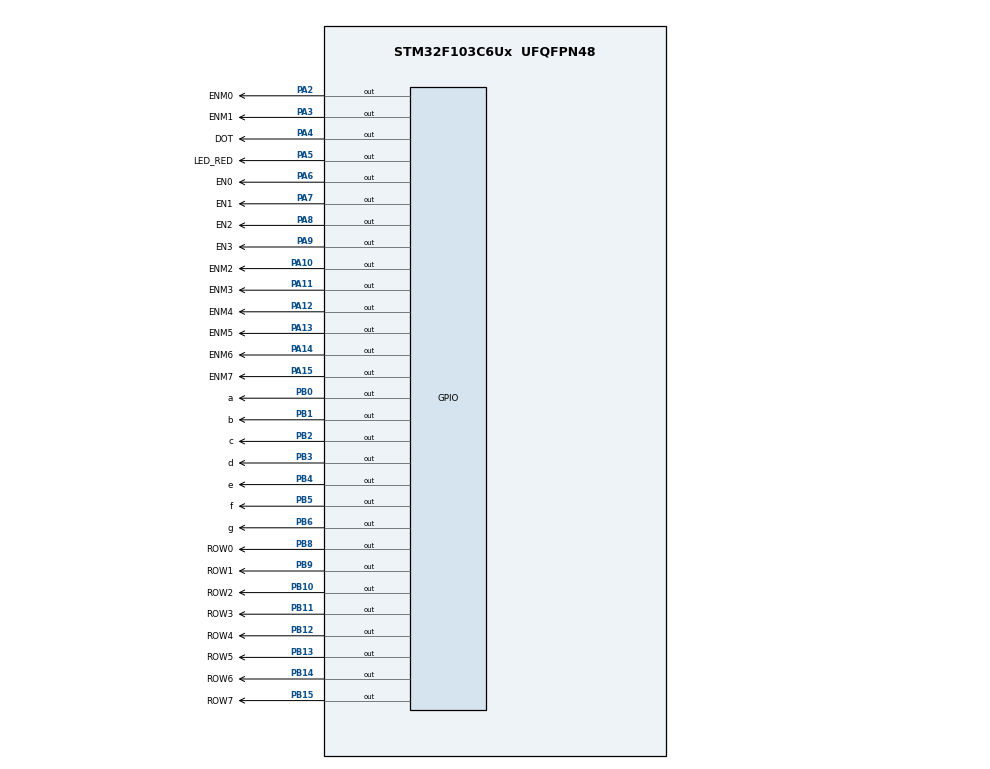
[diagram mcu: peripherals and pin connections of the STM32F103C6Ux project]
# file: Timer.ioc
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Mcu.Family=STM32F1
Mcu.Name=STM32F103C6Ux
Mcu.Package=UFQFPN48
NVIC.PriorityGroup=NVIC_PRIORITYGROUP_4
NVIC.TIM2_IRQn=true\:0\:0\:false\:false\:true\:true\:true
PA10.GPIO_Label=ENM2
PA10.Signal=GPIO_Output
PA11.GPIO_Label=ENM3
PA11.Signal=GPIO_Output
PA12.GPIO_Label=ENM4
PA12.Signal=GPIO_Output
PA13.GPIO_Label=ENM5
PA13.Signal=GPIO_Output
PA14.GPIO_Label=ENM6
PA14.Signal=GPIO_Output
PA15.GPIO_Label=ENM7
PA15.Signal=GPIO_Output
PA2.GPIO_Label=ENM0
PA2.Signal=GPIO_Output
PA3.GPIO_Label=ENM1
PA3.Signal=GPIO_Output
PA4.GPIO_Label=DOT
PA4.Signal=GPIO_Output
PA5.GPIO_Label=LED_RED
PA5.Signal=GPIO_Output
PA6.GPIO_Label=EN0
PA6.Signal=GPIO_Output
PA7.GPIO_Label=EN1
PA7.Signal=GPIO_Output
PA8.GPIO_Label=EN2
PA8.Signal=GPIO_Output
PA9.GPIO_Label=EN3
PA9.Signal=GPIO_Output
PB0.GPIO_Label=a
PB0.Signal=GPIO_Output
PB1.GPIO_Label=b
PB1.Signal=GPIO_Output
PB10.GPIO_Label=ROW2
PB10.Signal=GPIO_Output
PB11.GPIO_Label=ROW3
PB11.Signal=GPIO_Output
PB12.GPIO_Label=ROW4
PB12.Signal=GPIO_Output
PB13.GPIO_Label=ROW5
PB13.Signal=GPIO_Output
PB14.GPIO_Label=ROW6
PB14.Signal=GPIO_Output
PB15.GPIO_Label=ROW7
PB15.Signal=GPIO_Output
PB2.GPIO_Label=c
PB2.Signal=GPIO_Output
PB3.GPIO_Label=d
PB3.Signal=GPIO_Output
PB4.GPIO_Label=e
PB4.Signal=GPIO_Output
PB5.GPIO_Label=f
PB5.Signal=GPIO_Output
PB6.GPIO_Label=g
PB6.Signal=GPIO_Output
PB8.GPIO_Label=ROW0
PB8.Signal=GPIO_Output
PB9.GPIO_Label=ROW1
PB9.Signal=GPIO_Output
ProjectManager.HeapSize=0x200
ProjectManager.StackSize=0x400
ProjectManager.TargetToolchain=STM32CubeIDE
RCC.APB1Freq_Value=8000000
RCC.APB2Freq_Value=8000000
TIM2.Period=9
TIM2.Prescaler=7999
VP_SYS_VS_ND.Mode=No_Debug
VP_TIM2_VS_ClockSourceINT.Mode=Internal
board=custom

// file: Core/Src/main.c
/* USER CODE BEGIN Header */
/**
  ******************************************************************************
  * @file           : main.c
  * @brief          : Main program body
  ******************************************************************************
  * @attention
  *
  * <h2><center>&copy; Copyright (c) 2022 STMicroelectronics.
  * All rights reserved.</center></h2>
  *
  * This software component is licensed by ST under BSD 3-Clause license,
  * the "License"; You may not use this file except in compliance with the
  * License. You may obtain a copy of the License at:
  *                        opensource.org/licenses/BSD-3-Clause
  *
  ******************************************************************************
  */
/* USER CODE END Header */
#include "main.h"

/* USER CODE BEGIN Includes */
#include "software_timer.h"
/* USER CODE END Includes */

TIM_HandleTypeDef htim2;

void SystemClock_Config(void);
static void MX_TIM2_Init(void);
static void MX_GPIO_Init(void);
/* USER CODE BEGIN PFP */
void display7SEG(int);
void update7SEG(int);
void updateClockBuffer(int, int);
void updateCOLMatrix(int);
void updateROWMatrix(int);
/* USER CODE END PFP */

/* USER CODE BEGIN 0 */
uint8_t segNumber[10] = {
		0x40,
		0x79,
		0x24,
		0x30,
		0x19,
		0x12,
		0x02,
		0x78,
		0x00,
		0x10
};
const int MAX_LED = 4;
int index_led = 0;
int led_buffer[4] = {0, 0, 0, 0};
/* USER CODE END 0 */

int main(void)
{

  /* MCU Configuration--------------------------------------------------------*/

  /* Reset of all peripherals, Initializes the Flash interface and the Systick. */
  HAL_Init();

  /* Configure the system clock */
  SystemClock_Config();

  /* Initialize all configured peripherals */
  MX_TIM2_Init();
  MX_GPIO_Init();
  /* USER CODE BEGIN 2 */
  HAL_TIM_Base_Start_IT(&htim2);
  /* USER CODE END 2 */

  /* Infinite loop */
  /* USER CODE BEGIN WHILE */
  /*Ex9*/
  setTimer1(100);
  setTimer2(25);
  setTimer3(100);
  setTimer4(10);
  int hour = 15;
  int minute = 59;
  int second = 50;
  int index = 0;
  while (1)
  {
	if (timer1_flag == 1) {
		setTimer1(100);
		HAL_GPIO_TogglePin(DOT_GPIO_Port, DOT_Pin);
		HAL_GPIO_TogglePin(LED_RED_GPIO_Port, LED_RED_Pin);
	}

	if (timer3_flag == 1) {
		setTimer3(100);
		second++;
		if (second >= 60) {
			second = 0;
			minute++;
		}
		if (minute >= 60) {
			minute = 0;
			hour++;
		}
		if (hour >= 24) {
			hour = 0;
		}
		updateClockBuffer(hour, minute);
	}

	if (timer2_flag == 1) {
		setTimer2(25);
		update7SEG(index_led++);
		if (index_led >= MAX_LED) {
			index_led = 0;
		}
	}

	if (timer4_flag == 1)  {
		setTimer4(10);
		updateROWMatrix(index);
		updateCOLMatrix(index);
		index++;
		if (index > 7) {
			index = 0;
		}
	}

    /* USER CODE END WHILE */

  }
}

void SystemClock_Config(void)
{
  RCC_OscInitTypeDef RCC_OscInitStruct = {0};
  RCC_ClkInitTypeDef RCC_ClkInitStruct = {0};

  /** Initializes the RCC Oscillators according to the specified parameters
  * in the RCC_OscInitTypeDef structure.
  */
  RCC_OscInitStruct.OscillatorType = RCC_OSCILLATORTYPE_HSI;
  RCC_OscInitStruct.HSIState = RCC_HSI_ON;
  RCC_OscInitStruct.HSICalibrationValue = RCC_HSICALIBRATION_DEFAULT;
  RCC_OscInitStruct.PLL.PLLState = RCC_PLL_NONE;
  if (HAL_RCC_OscConfig(&RCC_OscInitStruct) != HAL_OK)
  {
    Error_Handler();
  }
  /** Initializes the CPU, AHB and APB buses clocks
  */
  RCC_ClkInitStruct.ClockType = RCC_CLOCKTYPE_HCLK|RCC_CLOCKTYPE_SYSCLK
                              |RCC_CLOCKTYPE_PCLK1|RCC_CLOCKTYPE_PCLK2;
  RCC_ClkInitStruct.SYSCLKSource = RCC_SYSCLKSOURCE_HSI;
  RCC_ClkInitStruct.AHBCLKDivider = RCC_SYSCLK_DIV1;
  RCC_ClkInitStruct.APB1CLKDivider = RCC_HCLK_DIV1;
  RCC_ClkInitStruct.APB2CLKDivider = RCC_HCLK_DIV1;

  if (HAL_RCC_ClockConfig(&RCC_ClkInitStruct, FLASH_LATENCY_0) != HAL_OK)
  {
    Error_Handler();
  }
}

static void MX_TIM2_Init(void)
{

  TIM_ClockConfigTypeDef sClockSourceConfig = {0};
  TIM_MasterConfigTypeDef sMasterConfig = {0};

  htim2.Instance = TIM2;
  htim2.Init.Prescaler = 7999;
  htim2.Init.CounterMode = TIM_COUNTERMODE_UP;
  htim2.Init.Period = 9;
  htim2.Init.ClockDivision = TIM_CLOCKDIVISION_DIV1;
  htim2.Init.AutoReloadPreload = TIM_AUTORELOAD_PRELOAD_DISABLE;
  if (HAL_TIM_Base_Init(&htim2) != HAL_OK)
  {
    Error_Handler();
  }
  sClockSourceConfig.ClockSource = TIM_CLOCKSOURCE_INTERNAL;
  if (HAL_TIM_ConfigClockSource(&htim2, &sClockSourceConfig) != HAL_OK)
  {
    Error_Handler();
  }
  sMasterConfig.MasterOutputTrigger = TIM_TRGO_RESET;
  sMasterConfig.MasterSlaveMode = TIM_MASTERSLAVEMODE_DISABLE;
  if (HAL_TIMEx_MasterConfigSynchronization(&htim2, &sMasterConfig) != HAL_OK)
  {
    Error_Handler();
  }

}

static void MX_GPIO_Init(void)
{
  GPIO_InitTypeDef GPIO_InitStruct = {0};

  /* GPIO Ports Clock Enable */
  __HAL_RCC_GPIOA_CLK_ENABLE();
  __HAL_RCC_GPIOB_CLK_ENABLE();

  /*Configure GPIO pin Output Level */
  HAL_GPIO_WritePin(GPIOA, ENM0_Pin|ENM1_Pin|DOT_Pin|LED_RED_Pin
                          |EN0_Pin|EN1_Pin|EN2_Pin|EN3_Pin
                          |ENM2_Pin|ENM3_Pin|ENM4_Pin|ENM5_Pin
                          |ENM6_Pin|ENM7_Pin, GPIO_PIN_RESET);

  /*Configure GPIO pin Output Level */
  HAL_GPIO_WritePin(GPIOB, a_Pin|b_Pin|c_Pin|ROW2_Pin
                          |ROW3_Pin|ROW4_Pin|ROW5_Pin|ROW6_Pin
                          |ROW7_Pin|d_Pin|e_Pin|f_Pin
                          |g_Pin|ROW0_Pin|ROW1_Pin, GPIO_PIN_RESET);

  /*Configure GPIO pins : ENM0_Pin ENM1_Pin DOT_Pin LED_RED_Pin
                           EN0_Pin EN1_Pin EN2_Pin EN3_Pin
                           ENM2_Pin ENM3_Pin ENM4_Pin ENM5_Pin
                           ENM6_Pin ENM7_Pin */
  GPIO_InitStruct.Pin = ENM0_Pin|ENM1_Pin|DOT_Pin|LED_RED_Pin
                          |EN0_Pin|EN1_Pin|EN2_Pin|EN3_Pin
                          |ENM2_Pin|ENM3_Pin|ENM4_Pin|ENM5_Pin
                          |ENM6_Pin|ENM7_Pin;
  GPIO_InitStruct.Mode = GPIO_MODE_OUTPUT_PP;
  GPIO_InitStruct.Pull = GPIO_NOPULL;
  GPIO_InitStruct.Speed = GPIO_SPEED_FREQ_LOW;
  HAL_GPIO_Init(GPIOA, &GPIO_InitStruct);

  /*Configure GPIO pins : a_Pin b_Pin c_Pin ROW2_Pin
                           ROW3_Pin ROW4_Pin ROW5_Pin ROW6_Pin
                           ROW7_Pin d_Pin e_Pin f_Pin
                           g_Pin ROW0_Pin ROW1_Pin */
  GPIO_InitStruct.Pin = a_Pin|b_Pin|c_Pin|ROW2_Pin
                          |ROW3_Pin|ROW4_Pin|ROW5_Pin|ROW6_Pin
                          |ROW7_Pin|d_Pin|e_Pin|f_Pin
                          |g_Pin|ROW0_Pin|ROW1_Pin;
  GPIO_InitStruct.Mode = GPIO_MODE_OUTPUT_PP;
  GPIO_InitStruct.Pull = GPIO_NOPULL;
  GPIO_InitStruct.Speed = GPIO_SPEED_FREQ_LOW;
  HAL_GPIO_Init(GPIOB, &GPIO_InitStruct);

}

/* USER CODE BEGIN 4 */
void display7SEG(int num) {
	HAL_GPIO_WritePin(a_GPIO_Port, a_Pin, (segNumber[num]>>0) & 0x01);
	HAL_GPIO_WritePin(b_GPIO_Port, b_Pin, (segNumber[num]>>1) & 0x01);
	HAL_GPIO_WritePin(c_GPIO_Port, c_Pin, (segNumber[num]>>2) & 0x01);
	HAL_GPIO_WritePin(d_GPIO_Port, d_Pin, (segNumber[num]>>3) & 0x01);
	HAL_GPIO_WritePin(e_GPIO_Port, e_Pin, (segNumber[num]>>4) & 0x01);
	HAL_GPIO_WritePin(f_GPIO_Port, f_Pin, (segNumber[num]>>5) & 0x01);
	HAL_GPIO_WritePin(g_GPIO_Port, g_Pin, (segNumber[num]>>6) & 0x01);
}

void update7SEG(int index) {
	switch (index) {
		case 0:
			HAL_GPIO_WritePin(EN0_GPIO_Port, EN0_Pin, 0);
			HAL_GPIO_WritePin(EN1_GPIO_Port, EN1_Pin, 1);
			HAL_GPIO_WritePin(EN2_GPIO_Port, EN2_Pin, 1);
			HAL_GPIO_WritePin(EN3_GPIO_Port, EN3_Pin, 1);
			display7SEG(led_buffer[index]);
			break;
		case 1:
			HAL_GPIO_WritePin(EN0_GPIO_Port, EN0_Pin, 1);
			HAL_GPIO_WritePin(EN1_GPIO_Port, EN1_Pin, 0);
			HAL_GPIO_WritePin(EN2_GPIO_Port, EN2_Pin, 1);
			HAL_GPIO_WritePin(EN3_GPIO_Port, EN3_Pin, 1);
			display7SEG(led_buffer[index]);
			break;
		case 2:
			HAL_GPIO_WritePin(EN0_GPIO_Port, EN0_Pin, 1);
			HAL_GPIO_WritePin(EN1_GPIO_Port, EN1_Pin, 1);
			HAL_GPIO_WritePin(EN2_GPIO_Port, EN2_Pin, 0);
			HAL_GPIO_WritePin(EN3_GPIO_Port, EN3_Pin, 1);
			display7SEG(led_buffer[index]);
			break;
		case 3:
			HAL_GPIO_WritePin(EN0_GPIO_Port, EN0_Pin, 1);
			HAL_GPIO_WritePin(EN1_GPIO_Port, EN1_Pin, 1);
			HAL_GPIO_WritePin(EN2_GPIO_Port, EN2_Pin, 1);
			HAL_GPIO_WritePin(EN3_GPIO_Port, EN3_Pin, 0);
			display7SEG(led_buffer[index]);
			break;
		default:
			break;
	}
}

void updateClockBuffer(int hour, int minute) {
	led_buffer[0] = hour / 10;
	led_buffer[1] = hour % 10;
	led_buffer[2] = minute / 10;
	led_buffer[3] = minute % 10;
}

uint8_t row_buffer[8] = {0x01, 0x02, 0x04, 0x08, 0x10, 0x20, 0x40, 0x80};
uint8_t col_buffer[8] = {0x18, 0x3c, 0x66, 0x66, 0x7e, 0x7e, 0x66, 0x66};

void updateCOLMatrix(int index) {
	HAL_GPIO_WritePin(ENM0_GPIO_Port, ENM0_Pin, (col_buffer[index] >> 0) & 0x01);
	HAL_GPIO_WritePin(ENM1_GPIO_Port, ENM1_Pin, (col_buffer[index] >> 1) & 0x01);
	HAL_GPIO_WritePin(ENM2_GPIO_Port, ENM2_Pin, (col_buffer[index] >> 2) & 0x01);
	HAL_GPIO_WritePin(ENM3_GPIO_Port, ENM3_Pin, (col_buffer[index] >> 3) & 0x01);
	HAL_GPIO_WritePin(ENM4_GPIO_Port, ENM4_Pin, (col_buffer[index] >> 4) & 0x01);
	HAL_GPIO_WritePin(ENM5_GPIO_Port, ENM5_Pin, (col_buffer[index] >> 5) & 0x01);
	HAL_GPIO_WritePin(ENM6_GPIO_Port, ENM6_Pin, (col_buffer[index] >> 6) & 0x01);
	HAL_GPIO_WritePin(ENM7_GPIO_Port, ENM7_Pin, (col_buffer[index] >> 7) & 0x01);

}

void updateROWMatrix(int index) {

	HAL_GPIO_WritePin(ROW0_GPIO_Port, ROW0_Pin, (row_buffer[index] >> 0) & 0x01);
	HAL_GPIO_WritePin(ROW1_GPIO_Port, ROW1_Pin, (row_buffer[index] >> 1) & 0x01);
	HAL_GPIO_WritePin(ROW2_GPIO_Port, ROW2_Pin, (row_buffer[index] >> 2) & 0x01);
	HAL_GPIO_WritePin(ROW3_GPIO_Port, ROW3_Pin, (row_buffer[index] >> 3) & 0x01);
	HAL_GPIO_WritePin(ROW4_GPIO_Port, ROW4_Pin, (row_buffer[index] >> 4) & 0x01);
	HAL_GPIO_WritePin(ROW5_GPIO_Port, ROW5_Pin, (row_buffer[index] >> 5) & 0x01);
	HAL_GPIO_WritePin(ROW6_GPIO_Port, ROW6_Pin, (row_buffer[index] >> 6) & 0x01);
	HAL_GPIO_WritePin(ROW7_GPIO_Port, ROW7_Pin, (row_buffer[index] >> 7) & 0x01);
}

void HAL_TIM_PeriodElapsedCallback(TIM_HandleTypeDef * htim)
{
	timerRun();
}
/* USER CODE END 4 */

void Error_Handler(void)
{
  __disable_irq();
  while (1)
  {
  }
}

/************************ (C) COPYRIGHT STMicroelectronics *****END OF FILE****/
